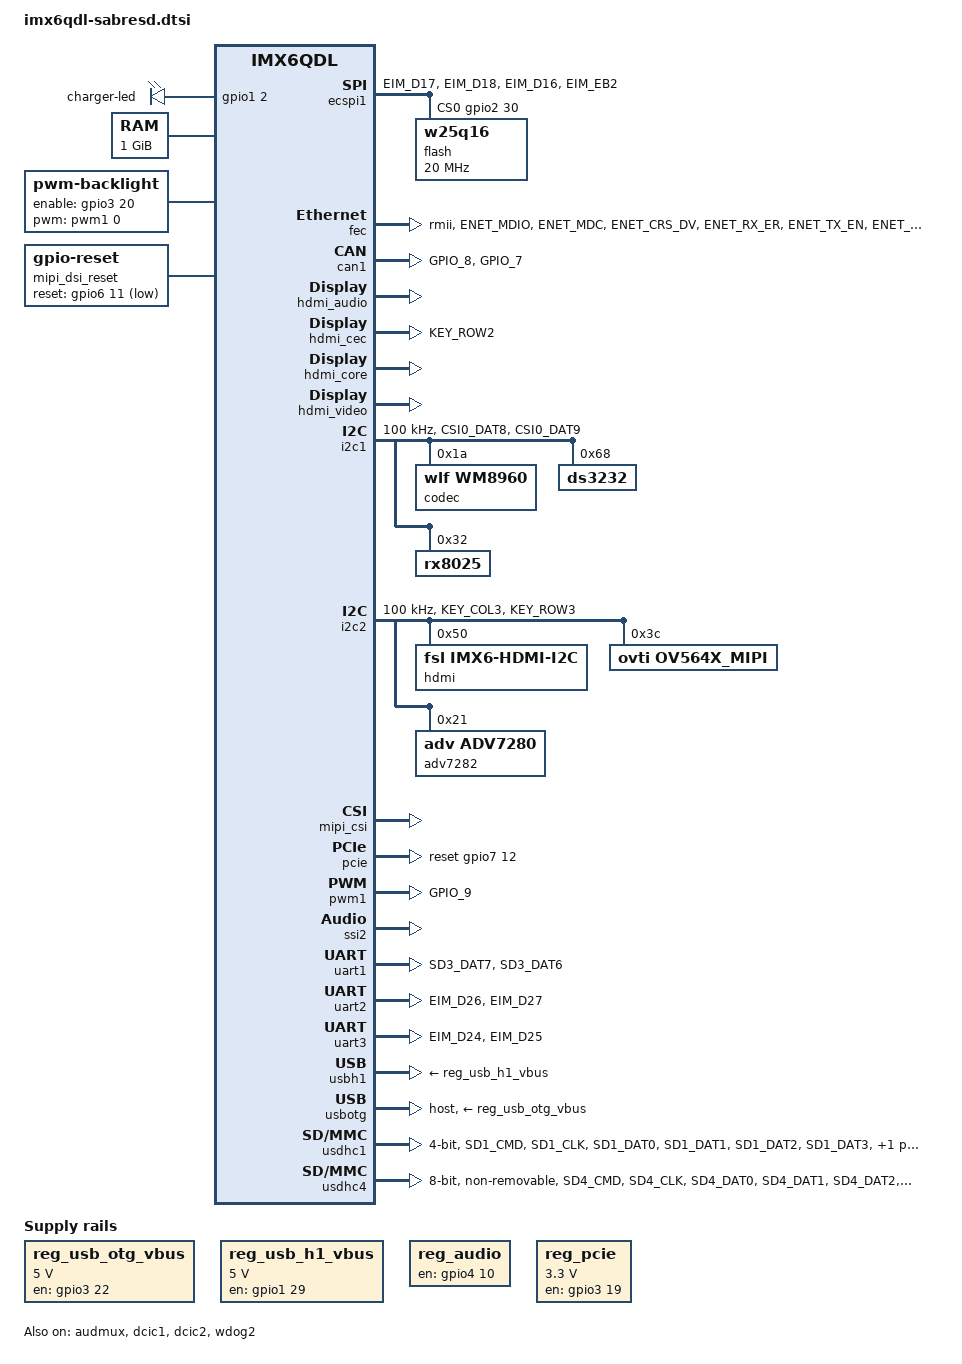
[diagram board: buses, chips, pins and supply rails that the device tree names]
/*
 * Copyright 2012-2016 Freescale Semiconductor, Inc.
 * Copyright 2011 Linaro Ltd.
 *
 * The code contained herein is licensed under the GNU General Public
 * License. You may obtain a copy of the GNU General Public License
 * Version 2 or later at the following locations:
 *
 * http://www.opensource.org/licenses/gpl-license.html
 * http://www.gnu.org/copyleft/gpl.html
 */

#include <dt-bindings/gpio/gpio.h>
#include <dt-bindings/input/input.h>

/ {
	aliases {
		mxcfb0 = &mxcfb1;
		mxcfb1 = &mxcfb2;
		mxcfb2 = &mxcfb3;
		mxcfb3 = &mxcfb4;
	};

	battery: max8903@0 {
		compatible = "fsl,max8903-charger";
		pinctrl-names = "default";
		dok_input = <&gpio2 24 1>;
		uok_input = <&gpio1 27 1>;
		chg_input = <&gpio3 23 1>;
		flt_input = <&gpio5 2 1>;
		fsl,dcm_always_high;
		fsl,dc_valid;
		fsl,usb_valid;
		status = "disabled";
	};

	leds {
		compatible = "gpio-leds";

		charger-led {
			gpios = <&gpio1 2 0>;
			linux,default-trigger = "max8903-charger-charging";
			retain-state-suspended;
		};
	};

	memory: memory {
		reg = <0x10000000 0x40000000>;
	};

	regulators {
		compatible = "simple-bus";
		#address-cells = <1>;
		#size-cells = <0>;

		reg_usb_otg_vbus: regulator@0 {
			compatible = "regulator-fixed";
			reg = <0>;
			regulator-name = "usb_otg_vbus";
			regulator-min-microvolt = <5000000>;
			regulator-max-microvolt = <5000000>;
			gpio = <&gpio3 22 0>;
			enable-active-high;
		};

		reg_usb_h1_vbus: regulator@1 {
			compatible = "regulator-fixed";
			reg = <1>;
			regulator-name = "usb_h1_vbus";
			regulator-min-microvolt = <5000000>;
			regulator-max-microvolt = <5000000>;
			gpio = <&gpio1 29 0>;
			enable-active-high;
		};

		reg_audio: regulator@2 {
			compatible = "regulator-fixed";
			reg = <2>;
			regulator-name = "wm8960-supply";
			gpio = <&gpio4 10 0>;
			enable-active-high;
		};

		reg_pcie: regulator@3 {
			compatible = "regulator-fixed";
			reg = <3>;
			pinctrl-names = "default";
			//pinctrl-0 = <&pinctrl_pcie_reg>;
			regulator-name = "MPCIE_3V3";
			regulator-min-microvolt = <3300000>;
			regulator-max-microvolt = <3300000>;
			gpio = <&gpio3 19 0>;
			regulator-always-on;
			enable-active-high;
		};

	};

#if 0

	gpio-keys {
		compatible = "gpio-keys";
		pinctrl-names = "default";
		pinctrl-0 = <&pinctrl_gpio_keys>;

		power {
			label = "Power Button";
			gpios = <&gpio3 29 GPIO_ACTIVE_LOW>;
			gpio-key,wakeup;
			linux,code = <KEY_POWER>;
		};

		volume-up {
			label = "Volume Up";
			gpios = <&gpio1 4 GPIO_ACTIVE_LOW>;
			gpio-key,wakeup;
			linux,code = <KEY_VOLUMEUP>;
		};

		volume-down {
			label = "Volume Down";
			gpios = <&gpio1 5 GPIO_ACTIVE_LOW>;
			gpio-key,wakeup;
			linux,code = <KEY_VOLUMEDOWN>;
		};
	};
#endif

	sound {
		compatible = "fsl,imx6q-sabresd-wm8960",
			   "fsl,imx-audio-wm8960";
		model = "wm8960-audio";
		cpu-dai = <&ssi2>;
		audio-codec = <&codec>;
//		asrc-controller = <&asrc>;
		audio-routing =
			"Headphone Jack", "HP_L",
			"Headphone Jack", "HP_R",
			"Ext Spk", "SPK_LP",
			"Ext Spk", "SPK_LN",
			"Ext Spk", "SPK_RP",
			"Ext Spk", "SPK_RN",
			"LINPUT1", "Main MIC",
			"Main MIC", "MICB";
		mux-int-port = <2>;
		mux-ext-port = <3>;
		codec-master;
//		hp-det-gpios = <&gpio7 8 1>;
//		mic-det-gpios = <&gpio1 9 1>;
	};

	sound-hdmi {
		compatible = "fsl,imx6q-audio-hdmi",
			     "fsl,imx-audio-hdmi";
		model = "imx-audio-hdmi";
		hdmi-controller = <&hdmi_audio>;
	};

    sound-phone {
		compatible = "fsl, imx6q-audio-phone",
				   "fsl,imx-audio-phone";
		model = "phone-audio";
		audio-routing =
			"Phone Spk", "SPK_PHONE",
			"INPUT_PHONE", "Phone Mic";
		cpu-dai = <&ssi1>;
	    audio-codec = <&codec_phone>;
		mux-int-port = <1>;
		mux-ext-port = <4>;
	};

	codec_phone: 3gmodem {
		compatible = "huawei, 3g_modem";
		status = "okay";
	};
	mxcfb1: fb@0 {
		compatible = "fsl,mxc_sdc_fb";
		disp_dev = "ldb";
		interface_pix_fmt = "RGB666";
		default_bpp = <32>;
		int_clk = <0>;
		late_init = <0>;
		status = "okay";
	};

	mxcfb2: fb@1 {
		compatible = "fsl,mxc_sdc_fb";
		disp_dev = "ldb";
		interface_pix_fmt = "RGB666";
		default_bpp = <32>;
		int_clk = <0>;
		late_init = <0>;
		status = "disabled";
	};

	mxcfb3: fb@2 {
		compatible = "fsl,mxc_sdc_fb";
		disp_dev = "hdmi";
		interface_pix_fmt = "RGB666";
		mode_str ="1920x1080M@60";
		default_bpp = <32>;
		int_clk = <0>;
		late_init = <0>;
		status = "okay";
	};

	mxcfb4: fb@3 {
		compatible = "fsl,mxc_sdc_fb";
		disp_dev = "lcd";
		interface_pix_fmt = "RGB24";
		default_bpp = <24>;
		mode_str ="FULLHD-CUT3";
		int_clk = <0>;
		late_init = <0>;
		status = "disable";
	};

	lcd@0 {
		compatible = "fsl,lcd";
		ipu_id = <0>;
		disp_id = <0>;
		default_ifmt = "RGB24";
		pinctrl-names = "default";
		pinctrl-0 = <&pinctrl_ipu1>;
		status = "disable";
	};

	backlight {
		compatible = "pwm-backlight";
		pwms = <&pwm1 0 2000000>;
		brightness-levels = <0 25 50 75 100 125 150 175 200 225 255>;
		default-brightness-level = <10>;
		enable-gpios = <&gpio3 20 0>;
		status = "okay";
	};

	v4l2_cap_0 {
		compatible = "fsl,imx6q-v4l2-capture";
		ipu_id = <0>;
		csi_id = <0>;
		mclk_source = <0>;
		status = "okay";
	};

	v4l2_cap_1 {
		compatible = "fsl,imx6q-v4l2-capture";
		ipu_id = <0>;
		csi_id = <1>;
		mclk_source = <0>;
		status = "disabled";
	};

	v4l2_out {
		compatible = "fsl,mxc_v4l2_output";
		status = "okay";
	};

	mipi_dsi_reset: mipi-dsi-reset {
		compatible = "gpio-reset";
		reset-gpios = <&gpio6 11 GPIO_ACTIVE_LOW>;
		reset-delay-us = <50>;
		#reset-cells = <0>;
	};
};

&audmux {
	pinctrl-names = "default";
	pinctrl-0 = <&pinctrl_audmux>;
	status = "okay";
};

#if 0
&cpu0 {
	arm-supply = <&sw1a_reg>;
	soc-supply = <&sw1c_reg>;
};
#endif

&clks {
	fsl,ldb-di0-parent = <&clks IMX6QDL_CLK_PLL2_PFD0_352M>;
	fsl,ldb-di1-parent = <&clks IMX6QDL_CLK_PLL2_PFD0_352M>;
};

&ecspi1 {
	fsl,spi-num-chipselects = <1>;
	cs-gpios = <&gpio2 30 0>;
	pinctrl-names = "default";
	pinctrl-0 = <&pinctrl_ecspi1>;
	status = "okay";

	flash: m25p80@0 {
		#address-cells = <1>;
		#size-cells = <1>;
		compatible = "w25q16";
		spi-max-frequency = <20000000>;
		reg = <0>;
	};
};

&fec {
	pinctrl-names = "default";
	pinctrl-0 = <&pinctrl_enet>;
	phy-mode = "rmii";
	phy-reset-gpios = <&gpio1 2 0>;
//	fsl,magic-packet;
	status = "okay";
};

&can1 {
        pinctrl-names = "default";
        pinctrl-0 = <&pinctrl_flexcan1>;
        status = "okay";
};

&gpc {
	fsl,ldo-bypass = <1>;
};

&dcic1 {
	dcic_id = <0>;
	dcic_mux = "dcic-hdmi";
	status = "okay";
};

&dcic2 {
	dcic_id = <1>;
	dcic_mux = "dcic-lvds1";
	status = "okay";
};

&hdmi_audio {
	status = "okay";
};

&hdmi_cec {
	pinctrl-names = "default";
	pinctrl-0 = <&pinctrl_hdmi_cec>;
	status = "okay";
};

&hdmi_core {
	ipu_id = <0>;
	disp_id = <1>;
	status = "okay";
};

&hdmi_video {
	fsl,phy_reg_vlev = <0x0294>;
	fsl,phy_reg_cksymtx = <0x800d>;
	status = "okay";
};

&i2c1 {
	clock-frequency = <100000>;
	pinctrl-names = "default";
	pinctrl-0 = <&pinctrl_i2c1>;
	status = "okay";

	codec: wm8960@1a {
		compatible = "wlf,wm8960";
		reg = <0x1a>;
		clocks = <&clks IMX6QDL_CLK_CKO>;
		clock-names = "mclk";
		wlf,shared-lrclk;
    	};

    	ds3232@68 {

		compatible = "ds3232";
		reg = <0x68>;
		status = "okay";
	};

	rx8025@32 {
		compatible = "rx8025";
		reg = <0x32>;
		status = "okay";
	};
};

&i2c2 {
	clock-frequency = <100000>;
	pinctrl-names = "default";
	pinctrl-0 = <&pinctrl_i2c2>;
	status = "okay";

	hdmi: edid@50 {
		compatible = "fsl,imx6-hdmi-i2c";
		reg = <0x50>;
		status = "okay";
	};

	ov564x_mipi: ov564x_mipi@3c { /* i2c2 driver */
		compatible = "ovti,ov564x_mipi";
		reg = <0x3c>;
		clocks = <&clks 201>;
		clock-names = "csi_mclk";
		csi_id = <0>;
		mclk = <24000000>;
		mclk_source = <0>;
	};

	adv7282:adv7282@21 {
		compatible = "adv,adv7280";
		reg = <0x21>;
		clocks = <&clks 201>;
		clock-names = "csi_mclk";
		csi_id = <0>;
		mclk = <27000000>;
		mclk_source = <0>;
		cvbs = <1>;
	};
};

&i2c3 {
	clock-frequency = <100000>;
	pinctrl-names = "default";
	pinctrl-0 = <&pinctrl_i2c3>;
	status = "disable";
};

&iomuxc {
	pinctrl-names = "default";
	pinctrl-0 = <&pinctrl_hog>;

	imx6qdl-sabresd {
		pinctrl_hog: hoggrp {
			fsl,pins = <
				MX6QDL_PAD_GPIO_0__CCM_CLKO1    0x130b0	//clock out
				MX6QDL_PAD_GPIO_17__GPIO7_IO12  0x80000000 //pcie pcie reset_n
				MX6QDL_PAD_KEY_COL4__GPIO4_IO14  0x80000000 //pcie disable_n
				MX6QDL_PAD_EIM_D20__GPIO3_IO20 0x80000000 //ldb backlight enable
				MX6QDL_PAD_GPIO_1__GPIO1_IO01  0x80000000 //sdcard cd
				MX6QDL_PAD_CSI0_DAT10__GPIO5_IO28 0X130b0 //status led
				MX6QDL_PAD_EIM_D28__GPIO3_IO28 0x130b0 //boot select
			>;
		};

		pinctrl_audmux: audmuxgrp {
			fsl,pins = <
				MX6QDL_PAD_CSI0_DAT7__AUD3_RXD		0x130b0
				MX6QDL_PAD_CSI0_DAT4__AUD3_TXC		0x130b0
				MX6QDL_PAD_CSI0_DAT5__AUD3_TXD		0x110b0
				MX6QDL_PAD_CSI0_DAT6__AUD3_TXFS		0x130b0
				MX6QDL_PAD_SD2_DAT0__AUD4_RXD  0x130b0
				MX6QDL_PAD_SD2_DAT3__AUD4_TXC  0x130b0
				MX6QDL_PAD_SD2_DAT2__AUD4_TXD  0x110b0
				MX6QDL_PAD_SD2_DAT1__AUD4_TXFS 0x130b0
			>;
		};

		pinctrl_ecspi1: ecspi1grp {
			fsl,pins = <
				MX6QDL_PAD_EIM_D17__ECSPI1_MISO	0x100b1
				MX6QDL_PAD_EIM_D18__ECSPI1_MOSI	0x100b1
				MX6QDL_PAD_EIM_D16__ECSPI1_SCLK	0x100b1
				MX6QDL_PAD_EIM_EB2__GPIO2_IO30 0x80000000 //spi cs
			>;
		};

		pinctrl_enet: enetgrp {
			fsl,pins = <
				MX6QDL_PAD_ENET_MDIO__ENET_MDIO		0x1b0b0
				MX6QDL_PAD_ENET_MDC__ENET_MDC		0x1b0b0
				MX6QDL_PAD_ENET_CRS_DV__ENET_RX_EN	0x1b0b0
				MX6QDL_PAD_ENET_RX_ER__ENET_RX_ER	0x1b0b0
				MX6QDL_PAD_ENET_TX_EN__ENET_TX_EN	0x1b0b0
				MX6QDL_PAD_ENET_RXD0__ENET_RX_DATA0		0x1b0b0
				MX6QDL_PAD_ENET_RXD1__ENET_RX_DATA1		0x1b0b0
				MX6QDL_PAD_ENET_TXD0__ENET_TX_DATA0		0x1b0b0
				MX6QDL_PAD_ENET_TXD1__ENET_TX_DATA1		0x1b0b0
				MX6QDL_PAD_GPIO_16__ENET_REF_CLK	0x4001b0a8
				MX6QDL_PAD_GPIO_2__GPIO1_IO02  0x80000000
			>;
		};

		pinctrl_enet_irq: enetirqgrp {
			fsl,pins = <
				MX6QDL_PAD_GPIO_6__ENET_IRQ		0x000b1
			>;
		};

		pinctrl_flexcan1: flexcan1grp {
			fsl,pins = <
				MX6QDL_PAD_GPIO_8__FLEXCAN1_RX	0x80000000
				MX6QDL_PAD_GPIO_7__FLEXCAN1_TX	0x80000000
			>;
		};

		pinctrl_gpio_keys: gpio_keysgrp {
			fsl,pins = <
				MX6QDL_PAD_EIM_D29__GPIO3_IO29 0x1b0b0
				MX6QDL_PAD_GPIO_4__GPIO1_IO04  0x1b0b0
				MX6QDL_PAD_GPIO_5__GPIO1_IO05  0x1b0b0
			>;
		};

		pinctrl_hdmi_cec: hdmicecgrp {
			fsl,pins = <
				MX6QDL_PAD_KEY_ROW2__HDMI_TX_CEC_LINE 0x108b0
			>;
		};

		pinctrl_hdmi_hdcp: hdmihdcpgrp {
			fsl,pins = <
				MX6QDL_PAD_KEY_COL3__HDMI_TX_DDC_SCL 0x4001b8b1
				MX6QDL_PAD_KEY_ROW3__HDMI_TX_DDC_SDA 0x4001b8b1
			>;
		};

		pinctrl_i2c1: i2c1grp {
			fsl,pins = <
				MX6QDL_PAD_CSI0_DAT8__I2C1_SDA		0x4001b8b1
				MX6QDL_PAD_CSI0_DAT9__I2C1_SCL		0x4001b8b1
			>;
		};

		pinctrl_i2c2: i2c2grp {
			fsl,pins = <
				MX6QDL_PAD_KEY_COL3__I2C2_SCL		0x4001b8b1
				MX6QDL_PAD_KEY_ROW3__I2C2_SDA		0x4001b8b1
			>;
		};

		pinctrl_i2c3: i2c3grp {
			fsl,pins = <
				MX6QDL_PAD_GPIO_3__I2C3_SCL		0x4001b8b1
				MX6QDL_PAD_GPIO_6__I2C3_SDA		0x4001b8b1
			>;
		};

		pinctrl_ipu1: ipu1grp {
			fsl,pins = <
				MX6QDL_PAD_DI0_DISP_CLK__IPU1_DI0_DISP_CLK 0x10
				MX6QDL_PAD_DI0_PIN15__IPU1_DI0_PIN15       0x10
				MX6QDL_PAD_DI0_PIN2__IPU1_DI0_PIN02        0x10
				MX6QDL_PAD_DI0_PIN3__IPU1_DI0_PIN03        0x10
				MX6QDL_PAD_DI0_PIN4__IPU1_DI0_PIN04        0x80000000
				MX6QDL_PAD_DISP0_DAT0__IPU1_DISP0_DATA00   0x10
				MX6QDL_PAD_DISP0_DAT1__IPU1_DISP0_DATA01   0x10
				MX6QDL_PAD_DISP0_DAT2__IPU1_DISP0_DATA02   0x10
				MX6QDL_PAD_DISP0_DAT3__IPU1_DISP0_DATA03   0x10
				MX6QDL_PAD_DISP0_DAT4__IPU1_DISP0_DATA04   0x10
				MX6QDL_PAD_DISP0_DAT5__IPU1_DISP0_DATA05   0x10
				MX6QDL_PAD_DISP0_DAT6__IPU1_DISP0_DATA06   0x10
				MX6QDL_PAD_DISP0_DAT7__IPU1_DISP0_DATA07   0x10
				MX6QDL_PAD_DISP0_DAT8__IPU1_DISP0_DATA08   0x10
				MX6QDL_PAD_DISP0_DAT9__IPU1_DISP0_DATA09   0x10
				MX6QDL_PAD_DISP0_DAT10__IPU1_DISP0_DATA10  0x10
				MX6QDL_PAD_DISP0_DAT11__IPU1_DISP0_DATA11  0x10
				MX6QDL_PAD_DISP0_DAT12__IPU1_DISP0_DATA12  0x10
				MX6QDL_PAD_DISP0_DAT13__IPU1_DISP0_DATA13  0x10
				MX6QDL_PAD_DISP0_DAT14__IPU1_DISP0_DATA14  0x10
				MX6QDL_PAD_DISP0_DAT15__IPU1_DISP0_DATA15  0x10
				MX6QDL_PAD_DISP0_DAT16__IPU1_DISP0_DATA16  0x10
				MX6QDL_PAD_DISP0_DAT17__IPU1_DISP0_DATA17  0x10
				MX6QDL_PAD_DISP0_DAT18__IPU1_DISP0_DATA18  0x10
				MX6QDL_PAD_DISP0_DAT19__IPU1_DISP0_DATA19  0x10
				MX6QDL_PAD_DISP0_DAT20__IPU1_DISP0_DATA20  0x10
				MX6QDL_PAD_DISP0_DAT21__IPU1_DISP0_DATA21  0x10
				MX6QDL_PAD_DISP0_DAT22__IPU1_DISP0_DATA22  0x10
				MX6QDL_PAD_DISP0_DAT23__IPU1_DISP0_DATA23  0x10
			>;
		};

		pinctrl_ipu1_2: ipu1grp-2 { /* parallel camera */
			fsl,pins = <
				MX6QDL_PAD_CSI0_DAT12__IPU1_CSI0_DATA12    0x80000000
				MX6QDL_PAD_CSI0_DAT13__IPU1_CSI0_DATA13    0x80000000
				MX6QDL_PAD_CSI0_DAT14__IPU1_CSI0_DATA14    0x80000000
				MX6QDL_PAD_CSI0_DAT15__IPU1_CSI0_DATA15    0x80000000
				MX6QDL_PAD_CSI0_DAT16__IPU1_CSI0_DATA16    0x80000000
				MX6QDL_PAD_CSI0_DAT17__IPU1_CSI0_DATA17    0x80000000
				MX6QDL_PAD_CSI0_DAT18__IPU1_CSI0_DATA18    0x80000000
				MX6QDL_PAD_CSI0_DAT19__IPU1_CSI0_DATA19    0x80000000
				MX6QDL_PAD_CSI0_DATA_EN__IPU1_CSI0_DATA_EN 0x80000000
				MX6QDL_PAD_CSI0_PIXCLK__IPU1_CSI0_PIXCLK   0x80000000
				MX6QDL_PAD_CSI0_MCLK__IPU1_CSI0_HSYNC      0x80000000
				MX6QDL_PAD_CSI0_VSYNC__IPU1_CSI0_VSYNC     0x80000000
			>;
		};

		pinctrl_pcie: pciegrp {
			fsl,pins = <
				MX6QDL_PAD_GPIO_17__GPIO7_IO12	0x1b0b0
			>;
		};

		pinctrl_pwm1: pwm1grp {
			fsl,pins = <
				MX6QDL_PAD_GPIO_9__PWM1_OUT		0x1b0b1
			>;
		};

		pinctrl_uart1: uart1grp {
			fsl,pins = <
				MX6QDL_PAD_SD3_DAT7__UART1_TX_DATA	0x1b0b1
				MX6QDL_PAD_SD3_DAT6__UART1_RX_DATA	0x1b0b1
			>;
		};

	 	pinctrl_uart2: uart2grp {
                        fsl,pins = <
                                MX6QDL_PAD_EIM_D26__UART2_TX_DATA       0x1b0b1
                                MX6QDL_PAD_EIM_D27__UART2_RX_DATA       0x1b0b1
                        >;
                };

                pinctrl_uart3: uart3grp {
                        fsl,pins = <
                                MX6QDL_PAD_EIM_D24__UART3_TX_DATA       0x1b0b1
                                MX6QDL_PAD_EIM_D25__UART3_RX_DATA       0x1b0b1
                        >;
                };

                pinctrl_uart4: uart4grp {
                        fsl,pins = <
                                MX6QDL_PAD_KEY_COL0__UART4_TX_DATA      0x1b0b1
                                MX6QDL_PAD_KEY_ROW0__UART4_RX_DATA      0x1b0b1
                        >;
                };
		pinctrl_uart5_1: uart5grp-1 {
			fsl,pins = <
				MX6QDL_PAD_KEY_COL1__UART5_TX_DATA	0x1b0b1
				MX6QDL_PAD_KEY_ROW1__UART5_RX_DATA	0x1b0b1
			>;
		};

		pinctrl_uart5dte_1: uart5dtegrp-1 {
			fsl,pins = <
				MX6QDL_PAD_KEY_ROW1__UART5_TX_DATA	0x1b0b1
				MX6QDL_PAD_KEY_COL1__UART5_RX_DATA	0x1b0b1
				MX6QDL_PAD_KEY_ROW4__UART5_RTS_B	0x1b0b1
				MX6QDL_PAD_KEY_COL4__UART5_CTS_B	0x1b0b1
			>;
		};

		pinctrl_usbotg: usbotggrp {
			fsl,pins = <
				MX6QDL_PAD_ENET_RX_ER__USB_OTG_ID	0x17059
			>;
		};

		pinctrl_usdhc1: usdhc1grp {
			fsl,pins = <
				MX6QDL_PAD_SD1_CMD__SD1_CMD		0x17059
				MX6QDL_PAD_SD1_CLK__SD1_CLK		0x10059
				MX6QDL_PAD_SD1_DAT0__SD1_DATA0		0x17059
				MX6QDL_PAD_SD1_DAT1__SD1_DATA1		0x17059
				MX6QDL_PAD_SD1_DAT2__SD1_DATA2		0x17059
				MX6QDL_PAD_SD1_DAT3__SD1_DATA3		0x17059
			>;
		};

		pinctrl_usdhc2: usdhc2grp {
			fsl,pins = <
				MX6QDL_PAD_SD2_CMD__SD2_CMD		0x17059
				MX6QDL_PAD_SD2_CLK__SD2_CLK		0x10059
				MX6QDL_PAD_SD2_DAT0__SD2_DATA0		0x17059
				MX6QDL_PAD_SD2_DAT1__SD2_DATA1		0x17059
				MX6QDL_PAD_SD2_DAT2__SD2_DATA2		0x17059
				MX6QDL_PAD_SD2_DAT3__SD2_DATA3		0x17059
			>;
		};

		pinctrl_usdhc3: usdhc3grp {
			fsl,pins = <
				MX6QDL_PAD_SD3_CMD__SD3_CMD		0x17059
				MX6QDL_PAD_SD3_CLK__SD3_CLK		0x10059
				MX6QDL_PAD_SD3_DAT0__SD3_DATA0		0x17059
				MX6QDL_PAD_SD3_DAT1__SD3_DATA1		0x17059
				MX6QDL_PAD_SD3_DAT2__SD3_DATA2		0x17059
				MX6QDL_PAD_SD3_DAT3__SD3_DATA3		0x17059
			>;
		};

		pinctrl_usdhc4: usdhc4grp {
			fsl,pins = <
				MX6QDL_PAD_SD4_CMD__SD4_CMD		0x17059
				MX6QDL_PAD_SD4_CLK__SD4_CLK		0x10059
				MX6QDL_PAD_SD4_DAT0__SD4_DATA0		0x17059
				MX6QDL_PAD_SD4_DAT1__SD4_DATA1		0x17059
				MX6QDL_PAD_SD4_DAT2__SD4_DATA2		0x17059
				MX6QDL_PAD_SD4_DAT3__SD4_DATA3		0x17059
				MX6QDL_PAD_SD4_DAT4__SD4_DATA4		0x17059
				MX6QDL_PAD_SD4_DAT5__SD4_DATA5		0x17059
				MX6QDL_PAD_SD4_DAT6__SD4_DATA6		0x17059
				MX6QDL_PAD_SD4_DAT7__SD4_DATA7		0x17059
			>;
		};
	};
};

/*
&ldb {
	status = "okay";
















	lvds-channel@0 {
		fsl,data-mapping = "spwg";
		fsl,data-width = <18>;
		status = "okay";


		display-timings {
			native-mode = <&timing0>;
			timing0: hsd100pxn1 {
				clock-frequency = <65000000>;
				hactive = <1024>;
				vactive = <768>;
				hback-porch = <220>;
				hfront-porch = <40>;
				vback-porch = <21>;
				vfront-porch = <7>;
				hsync-len = <60>;
				vsync-len = <10>;
			};
		};
	};

	lvds-channel@1 {
		fsl,data-mapping = "spwg";
		fsl,data-width = <18>;
		primary;
		status = "okay";


		display-timings {
			native-mode = <&timing1>;
			timing1: hsd100pxn1 {
				clock-frequency = <65000000>;
				hactive = <1024>;
				vactive = <768>;
				hback-porch = <220>;
				hfront-porch = <40>;
				vback-porch = <21>;
				vfront-porch = <7>;
				hsync-len = <60>;
				vsync-len = <10>;
			};
		};
	};
};
*/

&mipi_csi {
	status = "okay";
	ipu_id = <0>;
	csi_id = <0>;
	v_channel = <0>;
	lanes = <2>;
	status = "okay";
};

&mipi_dsi {
	dev_id = <0>;
	disp_id = <1>;
	lcd_panel = "TRULY-WVGA";
	resets = <&mipi_dsi_reset>;
	status = "disabled";
};

&pcie {
	pinctrl-names = "default";
	reset-gpio = <&gpio7 12 0>;
	status = "okay";
};

&pwm1 {
	pinctrl-names = "default";
	pinctrl-0 = <&pinctrl_pwm1>;
	status = "okay";
};

&snvs_poweroff {
	status = "okay";
};

&ssi2 {
	fsl,mode = "i2s-slave";
	status = "okay";
};

&uart1 {
	pinctrl-names = "default";
	pinctrl-0 = <&pinctrl_uart1>;
	status = "okay";
};

&uart2 {
        pinctrl-names = "default";
        pinctrl-0 = <&pinctrl_uart2>;
        status = "okay";
};

&uart3 {
        pinctrl-names = "default";
        pinctrl-0 = <&pinctrl_uart3>;
        status = "okay";
};

&uart4 {
        pinctrl-names = "default";
        pinctrl-0 = <&pinctrl_uart4>;
        status = "disabled";
};

&uart5 {
        pinctrl-names = "default";
        pinctrl-0 = <&pinctrl_uart5_1>;
        status = "disabled";
};

&usbh1 {
	vbus-supply = <&reg_usb_h1_vbus>;
	status = "okay";
};

&usbotg {
	vbus-supply = <&reg_usb_otg_vbus>;
	pinctrl-names = "default";
//	pinctrl-0 = <&pinctrl_usbotg>;
	disable-over-current;
	srp-disable;
	hnp-disable;
	adp-disable;
        dr_mode = "host";
	status = "okay";
};

&usbphy1 {
	tx-d-cal = <0x5>;
};

&usbphy2 {
	tx-d-cal = <0x5>;
};

&usdhc1 {
	pinctrl-names = "default";
	pinctrl-0 = <&pinctrl_usdhc1>;
	cd-gpios = <&gpio1 1 GPIO_ACTIVE_LOW>;
	no-1-8-v;
	bus-width = <4>;
	keep-power-in-suspend;
	enable-sdio-wakeup;
	status = "okay";
};

&usdhc2 {
	pinctrl-names = "default";
	pinctrl-0 = <&pinctrl_usdhc2>;
	bus-width = <8>;
	cd-gpios = <&gpio2 2 GPIO_ACTIVE_LOW>;
	wp-gpios = <&gpio2 3 GPIO_ACTIVE_HIGH>;
	no-1-8-v;
	keep-power-in-suspend;
	enable-sdio-wakeup;
	status = "disabled";
};

&usdhc3 {
	pinctrl-names = "default";
	pinctrl-0 = <&pinctrl_usdhc3>;
	bus-width = <8>;
	cd-gpios = <&gpio2 0 GPIO_ACTIVE_LOW>;
	wp-gpios = <&gpio2 1 GPIO_ACTIVE_HIGH>;
	no-1-8-v;
	keep-power-in-suspend;
	enable-sdio-wakeup;
	status = "disabled";
};

&usdhc4 {
	pinctrl-names = "default";
	pinctrl-0 = <&pinctrl_usdhc4>;
	bus-width = <8>;
	non-removable;
	no-1-8-v;
	keep-power-in-suspend;
	status = "okay";
};

&wdog1 {
	status = "disabled";
};

&wdog2 {
	fsl,wdog_b;
	status = "okay";
};

&tempmon {
	temp_passive = <90000>;
	temp_critical = <105000>;
};
